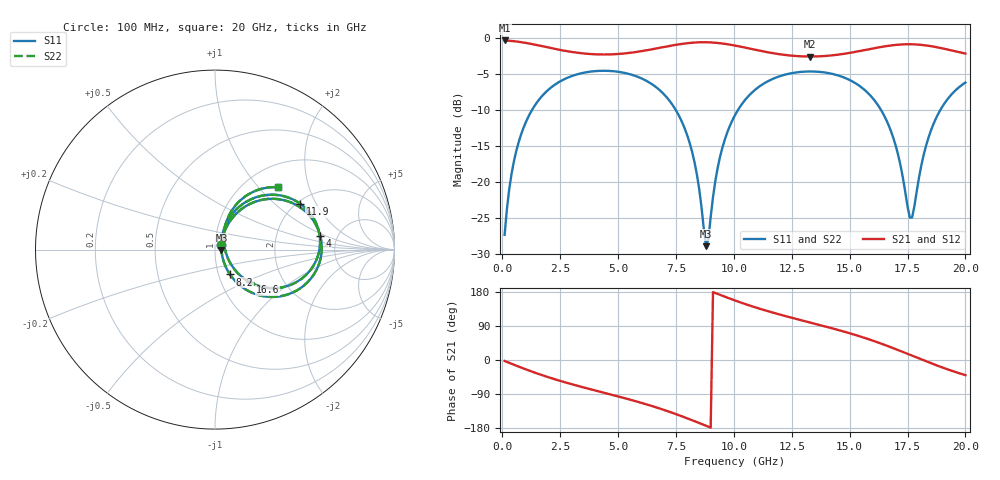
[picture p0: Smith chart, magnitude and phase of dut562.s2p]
! Touchstone file exported from HFSS 2026.1.0
!  File:  C:/ffzhzh/LocalFiles/Ansys_Project_Files/temp_train_TSV_RDL_562_1783116636_50312.aedt
!  Generated:  06:23:40 AM Jul  4, 2026
!  Design:  TSV_RDL
!  Project:  temp_train_TSV_RDL_562_1783116636_50312
! Variables:
!  h_bsmrdl = 5.35um
!  h_ox = 20um
!  h_rdl = 5um
!  h_sub = 68.51um
!  h_tmrdl = 4.66um
!  h_tsv = 68.51um
!  h_via = 3um
!  l_bsmrdl = 788.41um
!  l_sub = 6644.32um
!  l_tmrdl = 947.73um
!  m_sub = 200um
!  pitch = 48.37um
!  r_tsv = 14.05um
!  s_tmrdl = 10um
!  w_bsmrdl = 17.01um
!  w_sub = 500um
!  w_tmrdl = 12.38um
!  x_tsv_center1 = 953.92um
!  x_tsv_center2 = 1759.34um
!  x_tsv_center3 = 2719.45um
!  x_tsv_center4 = 3524.87um
!  x_tsv_center5 = 4484.98um
!  x_tsv_center6 = 5290.4um
# GHz S MA R 50.000000
! Terminal data exported
! Port[1] = TM_RDL1_1_T1
! Port[2] = TM_RDL5_1_T1
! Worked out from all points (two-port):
!   200 points, 100 MHz to 20 GHz, reference 50 ohm
!   highest |S21| = -0.29 dB at 100 MHz (marker M1); lowest = -2.5 dB at 13.3 GHz (marker M2)
!   |S21| within 3 dB of the highest: start of sweep to end of sweep
!   lowest |S11| = -28.9 dB at 8.8 GHz (marker M3), VSWR 1.07, Z = 53.7 - j0.392 ohm
!   |S11| at or under -10 dB: start of sweep to 1.28 GHz; 7.496 GHz to 10.17 GHz (2.678 GHz wide, 30.3 % of centre); 16.36 GHz to 18.91 GHz (2.554 GHz wide, 14.5 % of centre)
!   |S22| runs from -28.9 to -4.5 dB; largest |S21 - S12| = 1.6e-14
!   S11 on the Smith chart (normalised r, x): 100 MHz: 1.07, +0.06; 4 GHz: 3.67, +0.87; 8.2 GHz: 1.13, -0.32; 11.9 GHz: 2.08, +1.50; 16.6 GHz: 1.36, -0.53; 20 GHz: 1.39, +1.28
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0.1  0.04282 38.5  0.9673 -2.6  0.9673 -2.6  0.04282 38.5
! Gamma 0 0 0 0
! Port Impedance 50 0 50 0
0.5  0.1389 63.0  0.956 -12.5  0.956 -12.5  0.1389 63.0
1.1  0.279 56.1  0.9252 -26.6  0.9252 -26.6  0.279 56.1
2.2  0.4673 36.4  0.85 -49.5  0.85 -49.5  0.4673 36.4
3.5  0.5757 15.1  0.7856 -72.2  0.7856 -72.2  0.5757 15.1
4  0.5913 7.4  0.7748 -80.2  0.7748 -80.2  0.5913 7.5
5.4  0.5691 -13.7  0.7892 -102.6  0.7892 -102.6  0.5691 -13.7
6.8  0.4355 -37.0  0.8595 -128.0  0.8595 -128.0  0.4355 -37.0
8.2  0.1615 -59.0  0.9328 -159.0  0.9328 -159.0  0.1616 -58.9
8.8  0.03572 -5.9  0.9399 -173.5  0.9399 -173.5  0.03607 -5.7
9.4  0.1488 66.8  0.9256 172.0  0.9256 172.0  0.1489 66.6
10.1  0.302 58.3  0.888 156.0  0.888 156.0  0.302 58.2
11.9  0.5395 28.3  0.7789 121.3  0.7789 121.3  0.5396 28.2
13.3  0.5883 7.5  0.7476 98.8  0.7476 98.8  0.5883 7.5
13.4  0.5881 6.1  0.7477 97.2  0.7477 97.2  0.5881 6.0
15.3  0.482 -22.6  0.8083 65.1  0.8083 65.1  0.482 -22.7
16.6  0.2669 -43.0  0.8841 37.9  0.8841 37.9  0.2669 -43.2
16.7  0.2451 -44.1  0.8889 35.6  0.8889 35.6  0.245 -44.4
17.7  0.05664 23.7  0.9098 11.3  0.9098 11.3  0.05571 23.8
18.2  0.1548 67.3  0.8975 -1.0  0.8975 -1.0  0.1544 67.6
18.6  0.2485 66.2  0.8779 -10.5  0.8779 -10.5  0.2482 66.4
20  0.4923 44.8  0.7839 -40.0  0.7839 -40.0  0.4921 44.9
